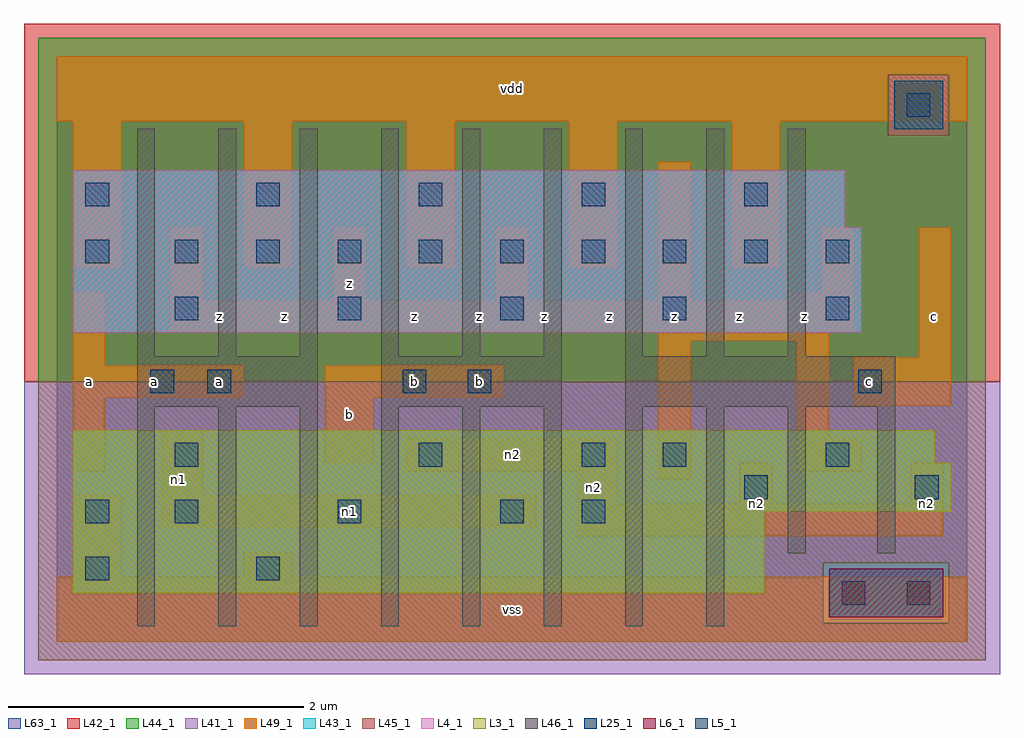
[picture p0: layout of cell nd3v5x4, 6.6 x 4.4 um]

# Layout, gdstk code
import gdstk
lib = gdstk.Library(unit=1e-6, precision=1e-09)
def R(c, l, rs):  # rectangles x0, y0, x1, y1
    for r in rs: c.add(gdstk.rectangle(r[:2], r[2:], *l))
def A(c, l, x, y, w, h, nx, ny, dx, dy):  # array of equal rectangles
    R(c, l, [(x+i*dx, y+j*dy, x+i*dx+w, y+j*dy+h) for i in range(nx) for j in range(ny)])
L3_1 = (3, 1)
L4_1 = (4, 1)
L5_1 = (5, 1)
L6_1 = (6, 1)
L25_1 = (25, 1)
L41_1 = (41, 1)
L42_1 = (42, 1)
L43_1 = (43, 1)
L44_1 = (44, 1)
L45_1 = (45, 1)
L46_1 = (46, 1)
L49_1 = (49, 1)
L63_1 = (63, 1)

nd3v5x4 = lib.new_cell('nd3v5x4')
R(nd3v5x4, L3_1, [(0.11,0.33,4.785,0.88), (0.11,0.88,6.05,1.21), (0.11,1.21,5.94,1.43)])
R(nd3v5x4, L4_1, [(0.11,2.09,5.445,2.805), (0.11,2.805,5.335,3.19)])
R(nd3v5x4, L5_1, [(5.665,3.465,5.995,3.795)])
R(nd3v5x4, L6_1, [(5.225,0.165,5.995,0.495)])
A(nd3v5x4, L25_1, 0.8, 0.8, 0.16, 0.16, 3, 1, 1.1, 0)
A(nd3v5x4, L25_1, 0.8, 2.175, 0.16, 0.16, 5, 1, 1.1, 0)
A(nd3v5x4, L25_1, 0.8, 2.56, 0.16, 0.16, 9, 1, 0.55, 0)
A(nd3v5x4, L25_1, 1.35, 2.945, 0.16, 0.16, 4, 1, 1.1, 0)
R(nd3v5x4, L25_1, [(5.31,0.25,5.47,0.41), (5.75,0.25,5.91,0.41), (0.195,0.415,0.355,0.575), (1.35,0.415,1.51,0.575), (0.195,0.8,0.355,0.96), (3.55,0.8,3.71,0.96), (4.65,0.965,4.81,1.125), (5.805,0.965,5.965,1.125), (0.8,1.185,0.96,1.345), (2.45,1.185,2.61,1.345), (3.55,1.185,3.71,1.345), (4.1,1.185,4.26,1.345), (5.2,1.185,5.36,1.345), (0.635,1.68,0.795,1.84), (1.02,1.68,1.18,1.84), (2.34,1.68,2.5,1.84), (2.78,1.68,2.94,1.84), (5.42,1.68,5.58,1.84), (0.195,2.56,0.355,2.72), (0.195,2.945,0.355,3.105), (5.75,3.55,5.91,3.71)])
R(nd3v5x4, L41_1, [(-0.22,-0.22,6.38,1.76)])
R(nd3v5x4, L42_1, [(-0.22,1.76,6.38,4.18)])
R(nd3v5x4, L43_1, [(5.225,0.165,5.995,0.495), (0.11,0.33,4.785,0.88), (0.11,0.88,6.05,1.21), (0.11,1.21,5.94,1.43), (0.11,2.09,5.445,2.805), (0.11,2.805,5.335,3.19), (5.665,3.465,5.995,3.795)])
R(nd3v5x4, L44_1, [(5.185,0.125,6.035,0.535), (-0.125,1.76,6.285,3.425), (-0.125,3.425,5.625,3.835), (6.035,3.425,6.285,3.835), (-0.125,3.835,6.285,4.085)])
R(nd3v5x4, L45_1, [(-0.125,-0.125,6.285,0.125), (-0.125,0.125,5.185,0.535), (6.035,0.125,6.285,0.535), (-0.125,0.535,6.285,1.76), (5.625,3.425,6.035,3.835)])
A(nd3v5x4, L46_1, 0.545, 0.105, 0.12, 1.485, 8, 1, 0.55, 0)
A(nd3v5x4, L46_1, 0.545, 1.93, 0.12, 1.54, 9, 1, 0.55, 0)
R(nd3v5x4, L46_1, [(4.945,0.6,5.065,1.59), (5.55,0.6,5.67,1.59), (0.545,1.59,1.765,1.93), (2.195,1.59,3.415,1.93), (3.845,1.59,5.67,1.93)])
A(nd3v5x4, L49_1, 0.77, 2.31, 0.22, 0.495, 3, 1, 1.1, 0)
A(nd3v5x4, L49_1, 1.265, 2.53, 0.33, 0.99, 4, 1, 1.1, 0)
R(nd3v5x4, L49_1, [(0,0,6.16,0.44), (0.11,0.44,0.44,0.99), (1.265,0.44,1.595,0.605), (3.52,0.715,5.995,0.935), (0.715,0.77,3.245,0.99), (3.52,0.935,3.795,1.155), (4.62,0.935,4.84,1.21), (5.775,0.935,5.995,1.21), (0.715,0.99,0.99,1.43), (4.07,1.1,4.29,2.035), (0.11,1.155,0.33,1.65), (2.365,1.155,3.795,1.375), (5.005,1.155,5.445,1.375), (1.815,1.21,2.145,1.65), (5.005,1.375,5.225,2.035), (5.39,1.595,6.05,1.925), (0.11,1.65,1.265,1.87), (1.815,1.65,3.025,1.87), (0.11,1.87,0.33,2.365), (5.83,1.925,6.05,2.805), (4.07,2.035,5.225,2.09), (0.77,2.09,5.39,2.31), (4.07,2.31,4.29,3.245), (4.95,2.31,5.39,2.365), (5.17,2.365,5.39,2.805), (0.11,2.53,0.44,3.52), (0,3.52,6.16,3.96)])
R(nd3v5x4, L63_1, [(0,0,6.16,3.96)])
nd3v5x4.add(gdstk.Label('n1', (0.825,1.1), layer=49, texttype=1))
nd3v5x4.add(gdstk.Label('a', (0.22,1.76), layer=49, texttype=1))
nd3v5x4.add(gdstk.Label('a', (0.66,1.76), layer=49, texttype=1))
nd3v5x4.add(gdstk.Label('b', (1.98,1.54), layer=49, texttype=1))
nd3v5x4.add(gdstk.Label('a', (1.1,1.76), layer=49, texttype=1))
nd3v5x4.add(gdstk.Label('z', (1.1,2.2), layer=49, texttype=1))
nd3v5x4.add(gdstk.Label('z', (1.54,2.2), layer=49, texttype=1))
nd3v5x4.add(gdstk.Label('z', (1.98,2.42), layer=49, texttype=1))
nd3v5x4.add(gdstk.Label('vss', (3.08,0.22), layer=49, texttype=1))
nd3v5x4.add(gdstk.Label('n1', (1.98,0.88), layer=49, texttype=1))
nd3v5x4.add(gdstk.Label('b', (2.86,1.76), layer=49, texttype=1))
nd3v5x4.add(gdstk.Label('b', (2.42,1.76), layer=49, texttype=1))
nd3v5x4.add(gdstk.Label('z', (2.42,2.2), layer=49, texttype=1))
nd3v5x4.add(gdstk.Label('z', (2.86,2.2), layer=49, texttype=1))
nd3v5x4.add(gdstk.Label('z', (3.3,2.2), layer=49, texttype=1))
nd3v5x4.add(gdstk.Label('vdd', (3.08,3.74), layer=49, texttype=1))
nd3v5x4.add(gdstk.Label('n2', (4.73,0.935), layer=49, texttype=1))
nd3v5x4.add(gdstk.Label('n2', (3.63,1.045), layer=49, texttype=1))
nd3v5x4.add(gdstk.Label('n2', (3.08,1.265), layer=49, texttype=1))
nd3v5x4.add(gdstk.Label('z', (3.74,2.2), layer=49, texttype=1))
nd3v5x4.add(gdstk.Label('z', (4.18,2.2), layer=49, texttype=1))
nd3v5x4.add(gdstk.Label('z', (4.62,2.2), layer=49, texttype=1))
nd3v5x4.add(gdstk.Label('n2', (5.885,0.935), layer=49, texttype=1))
nd3v5x4.add(gdstk.Label('c', (5.5,1.76), layer=49, texttype=1))
nd3v5x4.add(gdstk.Label('z', (5.06,2.2), layer=49, texttype=1))
nd3v5x4.add(gdstk.Label('c', (5.94,2.2), layer=49, texttype=1))

lib.write_gds('nd3v5x4.gds')
